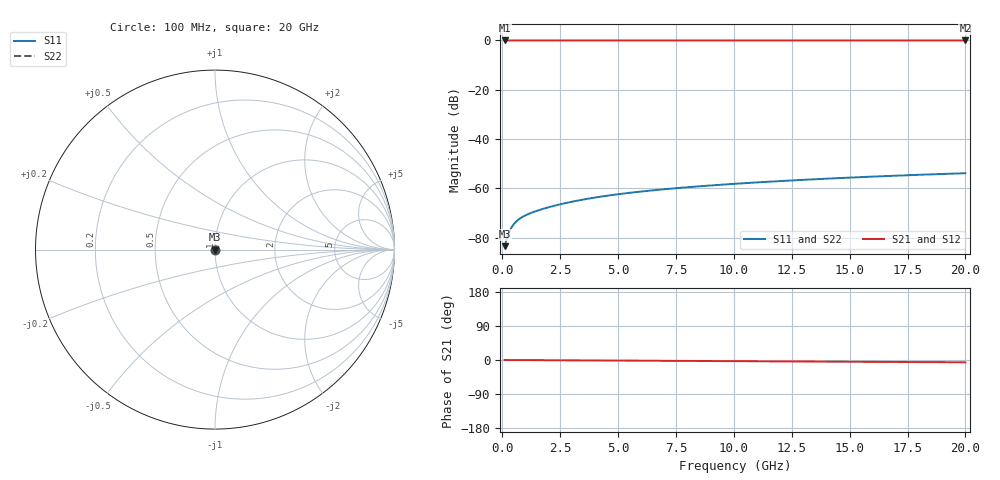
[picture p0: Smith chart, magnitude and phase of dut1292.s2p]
! Touchstone file exported from HFSS 2026.1.0
!  File:  C:/ffzhzh/LocalFiles/Ansys_Project_Files/temp_train_TSV_1292_1783194538_55132.aedt
!  Generated:  03:50:13 AM Jul  5, 2026
!  Design:  TSV
!  Project:  temp_train_TSV_1292_1783194538_55132
! Variables:
!  h_bsmrdl = 2um
!  h_ox = 20um
!  h_rdl = 5um
!  h_sub = 55.02um
!  h_tmrdl = 5um
!  h_tsv = 55.02um
!  h_via = 3um
!  l_bsmrdl = 300um
!  l_sub = 429.96um
!  l_tmrdl = 200um
!  m_sub = 200um
!  pitch = 59.85um
!  r_tsv = 14.98um
!  s_tmrdl = 10um
!  w_bsmrdl = 18um
!  w_sub = 500um
!  w_tmrdl = 12um
!  x_tsv_center1 = 206um
!  x_tsv_center2 = 524um
!  x_tsv_center3 = 736um
!  x_tsv_center4 = 1054um
!  x_tsv_center5 = 1266um
!  x_tsv_center6 = 1584um
# GHz S MA R 50.000000
! Terminal data exported
! Port[1] = TSV1_1_T1
! Port[2] = TSV1_1_T2
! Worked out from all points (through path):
!   200 points, 100 MHz to 20 GHz, reference 50 ohm
!   highest |S21| = 0.00 dB at 100 MHz (marker M1); lowest = 0.0 dB at 20 GHz (marker M2)
!   lowest |S11| = -83.5 dB at 100 MHz (marker M3), VSWR 1.00, Z = 50 + j0.00381 ohm
!   |S11| at or under -10 dB: start of sweep to end of sweep
!   |S22| runs from -83.5 to -53.9 dB; largest |S21 - S12| = 4.3e-15
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0.1  6.705e-05 34.7  0.9999 -0.0  0.9999 -0.0  6.705e-05 34.7
! Gamma 0 0 0 0
! Port Impedance 50 0 50 0
0.2  9.799e-05 48.7  0.9999 -0.1  0.9999 -0.1  9.799e-05 48.7
0.3  0.0001308 53.1  0.9999 -0.1  0.9999 -0.1  0.0001308 53.1
0.4  0.0001611 54.2  0.9999 -0.1  0.9999 -0.1  0.0001611 54.2
0.5  0.0001881 54.1  0.9999 -0.2  0.9999 -0.2  0.0001881 54.1
0.6  0.0002117 53.7  0.9999 -0.2  0.9999 -0.2  0.0002117 53.7
0.7  0.0002324 53.3  0.9999 -0.2  0.9999 -0.2  0.0002324 53.3
0.8  0.0002509 52.9  0.9998 -0.3  0.9998 -0.3  0.0002509 52.9
1  0.0002832 52.7  0.9998 -0.3  0.9998 -0.3  0.0002832 52.7
1.4  0.000338 53.4  0.9998 -0.4  0.9998 -0.4  0.000338 53.4
2  0.0004131 55.5  0.9998 -0.6  0.9998 -0.6  0.0004131 55.5
2.7  0.0004983 57.6  0.9997 -0.8  0.9997 -0.8  0.0004983 57.6
3.5  0.000593 59.1  0.9997 -1.1  0.9997 -1.1  0.0005929 59.1
4.2  0.0006723 60.0  0.9997 -1.3  0.9997 -1.3  0.0006723 60.0
5  0.0007589 60.7  0.9996 -1.5  0.9996 -1.5  0.0007589 60.7
5.9  0.0008514 61.2  0.9996 -1.8  0.9996 -1.8  0.0008514 61.2
6.8  0.0009397 61.6  0.9996 -2.1  0.9996 -2.1  0.0009397 61.7
8.3  0.00108 62.2  0.9995 -2.5  0.9995 -2.5  0.00108 62.2
10.1  0.001241 62.8  0.9995 -3.1  0.9995 -3.1  0.001241 62.8
13.4  0.001521 63.4  0.9994 -4.1  0.9994 -4.1  0.001521 63.4
16.7  0.001783 63.5  0.9994 -5.1  0.9994 -5.1  0.001783 63.5
20  0.002026 63.2  0.9993 -6.1  0.9993 -6.1  0.002026 63.2
